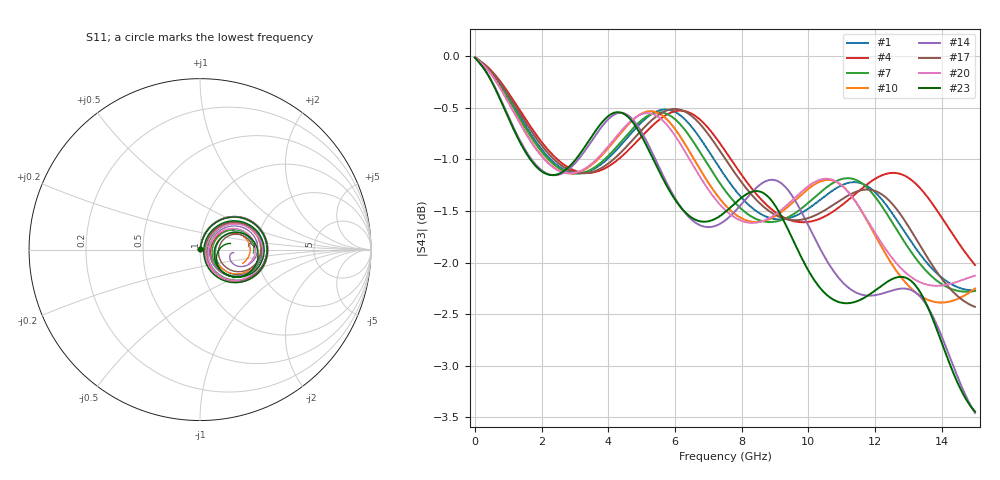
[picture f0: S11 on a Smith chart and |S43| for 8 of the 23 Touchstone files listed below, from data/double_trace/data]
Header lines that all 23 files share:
! Created with skrf 1.8.0 (http://scikit-rf.org).
# GHz S RI R 50.0
!freq ReS11 ImS11 ReS12 ImS12 ReS13 ImS13
! ReS14 ImS14
! ReS21 ImS21 ReS22 ImS22 ReS23 ImS23
! ReS24 ImS24
! ReS31 ImS31 ReS32 ImS32 ReS33 ImS33
! ReS34 ImS34
! ReS41 ImS41 ReS42 ImS42 ReS43 ImS43
! ReS44 ImS44
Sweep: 5 MHz to 15 GHz
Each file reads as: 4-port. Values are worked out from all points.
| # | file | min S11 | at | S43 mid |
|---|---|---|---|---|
| 1 | 401.s4p | -54.6 dB | 5 MHz | -1.0 dB at 7.19 GHz |
| 2 | 404.s4p | -52.7 dB | 5 MHz | -1.6 dB at 7.19 GHz |
| 3 | 405.s4p | -53.2 dB | 5 MHz | -1.6 dB at 7.19 GHz |
| 4 | 406.s4p | -55.4 dB | 5 MHz | -0.8 dB at 7.19 GHz |
| 5 | 407.s4p | -52.1 dB | 5 MHz | -1.6 dB at 7.19 GHz |
| 6 | 408.s4p | -53.9 dB | 5 MHz | -1.3 dB at 7.19 GHz |
| 7 | 409.s4p | -54.4 dB | 5 MHz | -1.2 dB at 7.19 GHz |
| 8 | 410.s4p | -53.3 dB | 5 MHz | -1.5 dB at 7.19 GHz |
| 9 | 413.s4p | -54.3 dB | 5 MHz | -1.2 dB at 7.19 GHz |
| 10 | 415.s4p | -54.0 dB | 5 MHz | -1.3 dB at 7.19 GHz |
| 11 | 416.s4p | -53.7 dB | 5 MHz | -1.4 dB at 7.19 GHz |
| 12 | 420.s4p | -56.1 dB | 5 MHz | -0.5 dB at 7.19 GHz |
| 13 | 423.s4p | -53.9 dB | 5 MHz | -1.3 dB at 7.19 GHz |
| 14 | 424.s4p | -52.4 dB | 5 MHz | -1.6 dB at 7.19 GHz |
| 15 | 425.s4p | -56.3 dB | 5 MHz | -0.5 dB at 7.19 GHz |
| 16 | 429.s4p | -53.4 dB | 5 MHz | -1.6 dB at 7.19 GHz |
| 17 | 430.s4p | -55.0 dB | 5 MHz | -0.8 dB at 7.19 GHz |
| 18 | 431.s4p | -54.4 dB | 5 MHz | -1.1 dB at 7.19 GHz |
| 19 | 433.s4p | -53.8 dB | 5 MHz | -1.3 dB at 7.19 GHz |
| 20 | 434.s4p | -53.9 dB | 5 MHz | -1.4 dB at 7.19 GHz |
| 21 | 435.s4p | -54.6 dB | 5 MHz | -1.1 dB at 7.19 GHz |
| 22 | 439.s4p | -53.7 dB | 5 MHz | -1.5 dB at 7.19 GHz |
| 23 | 440.s4p | -52.2 dB | 5 MHz | -1.6 dB at 7.19 GHz |
